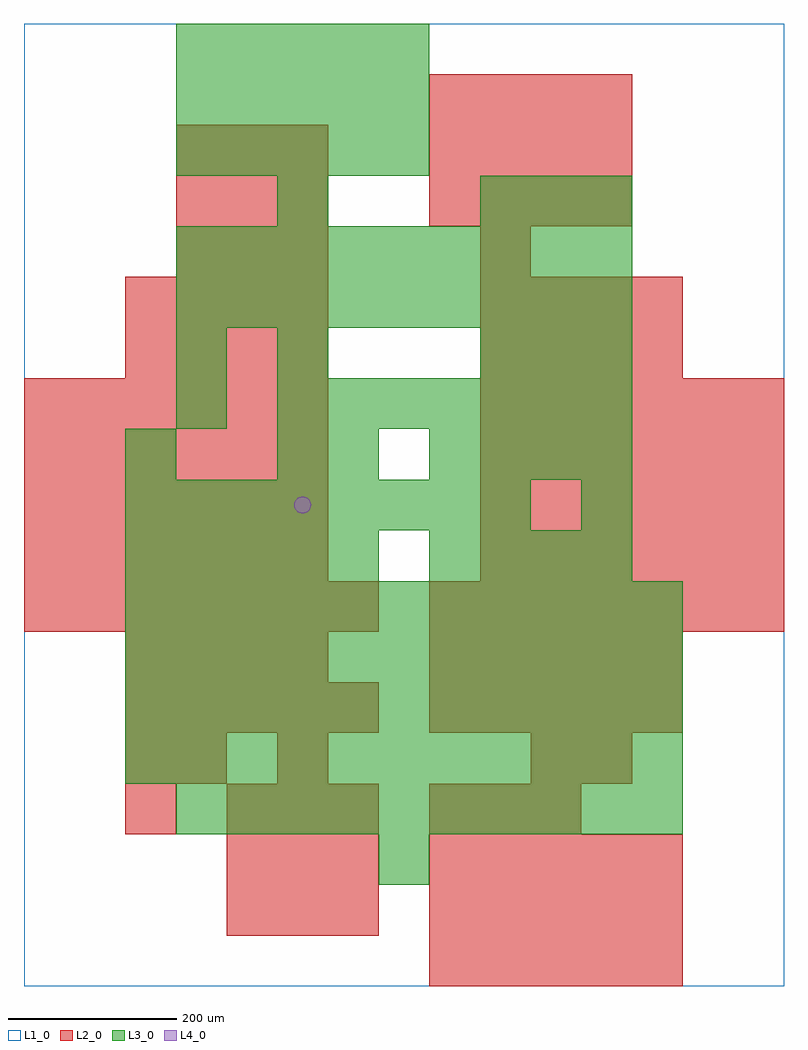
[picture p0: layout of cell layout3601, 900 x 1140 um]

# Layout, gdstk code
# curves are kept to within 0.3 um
import gdstk
lib = gdstk.Library(unit=1e-6, precision=1e-09)
def R(c, l, rs):  # rectangles x0, y0, x1, y1
    for r in rs: c.add(gdstk.rectangle(r[:2], r[2:], *l))
def A(c, l, x, y, w, h, nx, ny, dx, dy):  # array of equal rectangles
    R(c, l, [(x+i*dx, y+j*dy, x+i*dx+w, y+j*dy+h) for i in range(nx) for j in range(ny)])
def P(c, l, *ps):  # polygons
    for p in ps: c.add(gdstk.Polygon(p, *l))
L1_0 = (1, 0)
L2_0 = (2, 0)
L3_0 = (3, 0)
L4_0 = (4, 0)

layout3601 = lib.new_cell('layout3601')
R(layout3601, L1_0, [(0,0,900,1140)])
A(layout3601, L2_0, 480, 0, 60, 60, 5, 3, 60, 60)
A(layout3601, L2_0, 240, 60, 60, 60, 3, 3, 60, 60)
A(layout3601, L2_0, 480, 180, 60, 60, 3, 1, 60, 0)
A(layout3601, L2_0, 120, 300, 60, 60, 5, 1, 60, 0)
A(layout3601, L2_0, 480, 300, 60, 60, 5, 2, 60, 60)
A(layout3601, L2_0, 120, 360, 60, 60, 4, 2, 60, 360)
A(layout3601, L2_0, 0, 420, 60, 60, 7, 1, 60, 0)
A(layout3601, L2_0, 480, 420, 60, 60, 7, 1, 60, 0)
A(layout3601, L2_0, 0, 480, 60, 60, 6, 4, 60, 60)
A(layout3601, L2_0, 540, 480, 60, 60, 6, 4, 60, 60)
A(layout3601, L2_0, 540, 720, 60, 60, 4, 2, 60, 60)
A(layout3601, L2_0, 120, 780, 60, 60, 4, 1, 60, 0)
A(layout3601, L2_0, 180, 840, 60, 60, 3, 3, 60, 60)
A(layout3601, L2_0, 480, 900, 60, 60, 4, 3, 60, 60)
R(layout3601, L2_0, [(120,180,180,240), (120,240,180,300), (180,240,240,300), (300,240,360,300), (600,240,660,300), (660,240,720,300), (540,840,600,900)])
A(layout3601, L3_0, 180, 180, 60, 60, 10, 1, 60, 0)
A(layout3601, L3_0, 120, 240, 60, 60, 11, 4, 60, 60)
A(layout3601, L3_0, 120, 480, 60, 60, 5, 1, 60, 0)
A(layout3601, L3_0, 480, 480, 60, 60, 4, 2, 60, 120)
A(layout3601, L3_0, 120, 540, 60, 60, 8, 1, 60, 0)
A(layout3601, L3_0, 300, 660, 60, 60, 7, 1, 60, 0)
A(layout3601, L3_0, 540, 720, 60, 60, 3, 2, 60, 180)
A(layout3601, L3_0, 180, 780, 60, 60, 9, 2, 60, 60)
A(layout3601, L3_0, 180, 960, 60, 60, 5, 3, 60, 60)
R(layout3601, L3_0, [(420,120,480,180), (660,540,720,600), (120,600,180,660), (300,600,360,660), (360,600,420,660), (180,660,240,720), (180,720,240,780), (300,720,360,780), (300,900,360,960)])
P(layout3601, L4_0, [(340,570),(339.239,573.827),(337.071,577.071),(333.827,579.239),(330,580),(326.173,579.239),(322.929,577.071),(320.761,573.827),(320,570),(320.761,566.173),(322.929,562.929),(326.173,560.761),(330,560),(333.827,560.761),(337.071,562.929),(339.239,566.173)])

lib.write_gds('layout3601.gds')
